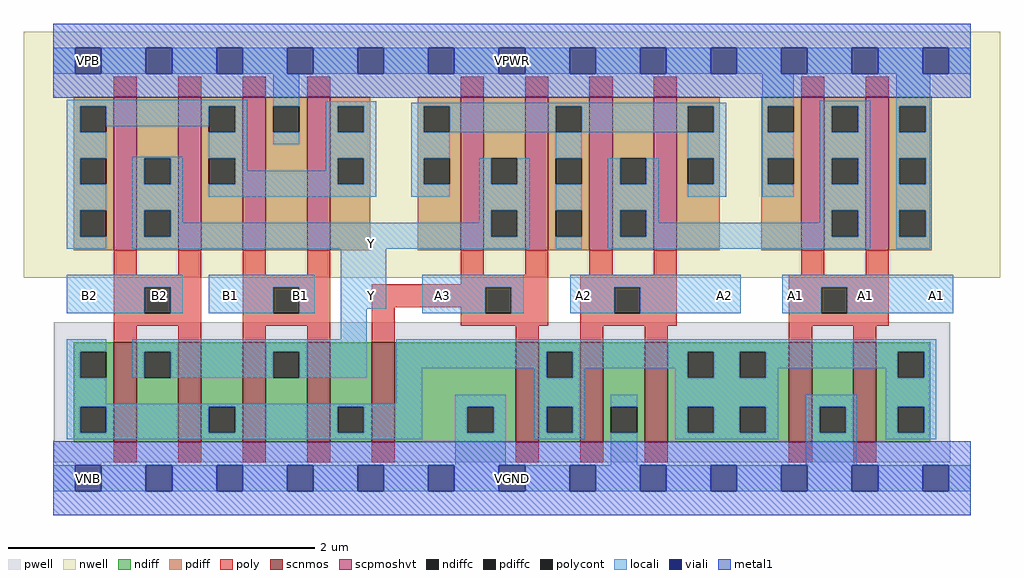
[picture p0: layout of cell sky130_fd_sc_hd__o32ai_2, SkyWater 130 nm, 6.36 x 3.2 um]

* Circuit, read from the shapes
.subckt sky130_fd_sc_hd__o32ai_2 A1 A2 A3 B1 B2 VGND VNB VPB VPWR Y
XM1 Y B2 n1 VNB sky130_fd_pr__nfet_01v8 w=0.65 l=0.15 m=2
XM2 Y B1 n1 VNB sky130_fd_pr__nfet_01v8 w=0.65 l=0.15 m=2
XM3 VGND A3 n1 VNB sky130_fd_pr__nfet_01v8 w=0.65 l=0.15 m=2
XM4 VGND A2 n1 VNB sky130_fd_pr__nfet_01v8 w=0.65 l=0.15 m=2
XM5 VGND A1 n1 VNB sky130_fd_pr__nfet_01v8 w=0.65 l=0.15 m=2
XM6 Y B2 n2 VPB sky130_fd_pr__pfet_01v8_hvt w=1 l=0.15 m=2
XM7 VPWR B1 n2 VPB sky130_fd_pr__pfet_01v8_hvt w=1 l=0.15 m=2
XM8 Y A3 n3 VPB sky130_fd_pr__pfet_01v8_hvt w=1 l=0.15 m=2
XM9 n4 A2 n3 VPB sky130_fd_pr__pfet_01v8_hvt w=1 l=0.15 m=2
XM10 n4 A1 VPWR VPB sky130_fd_pr__pfet_01v8_hvt w=1 l=0.15 m=2
.ends

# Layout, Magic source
magic
tech sky130B
magscale 1 2
<< nwell >>
rect -38 261 1234 582
<< pwell >>
rect 1 21 1169 203
rect 29 -17 63 21
<< scnmos >>
rect 79 47 109 177
rect 163 47 193 177
rect 247 47 277 177
rect 331 47 361 177
rect 415 47 445 177
rect 603 47 633 177
rect 687 47 717 177
rect 771 47 801 177
rect 959 47 989 177
rect 1043 47 1073 177
<< scpmoshvt >>
rect 79 297 109 497
rect 163 297 193 497
rect 247 297 277 497
rect 331 297 361 497
rect 531 297 561 497
rect 615 297 645 497
rect 699 297 729 497
rect 783 297 813 497
rect 975 297 1005 497
rect 1059 297 1089 497
<< ndiff >>
rect 27 165 79 177
rect 27 131 35 165
rect 69 131 79 165
rect 27 93 79 131
rect 27 59 35 93
rect 69 59 79 93
rect 27 47 79 59
rect 109 165 163 177
rect 109 131 119 165
rect 153 131 163 165
rect 109 47 163 131
rect 193 93 247 177
rect 193 59 203 93
rect 237 59 247 93
rect 193 47 247 59
rect 277 165 331 177
rect 277 131 287 165
rect 321 131 331 165
rect 277 47 331 131
rect 361 93 415 177
rect 361 59 371 93
rect 405 59 415 93
rect 361 47 415 59
rect 445 93 603 177
rect 445 59 540 93
rect 574 59 603 93
rect 445 47 603 59
rect 633 165 687 177
rect 633 131 643 165
rect 677 131 687 165
rect 633 93 687 131
rect 633 59 643 93
rect 677 59 687 93
rect 633 47 687 59
rect 717 93 771 177
rect 717 59 727 93
rect 761 59 771 93
rect 717 47 771 59
rect 801 165 959 177
rect 801 131 827 165
rect 861 131 895 165
rect 929 131 959 165
rect 801 93 959 131
rect 801 59 827 93
rect 861 59 895 93
rect 929 59 959 93
rect 801 47 959 59
rect 989 93 1043 177
rect 989 59 999 93
rect 1033 59 1043 93
rect 989 47 1043 59
rect 1073 165 1143 177
rect 1073 131 1101 165
rect 1135 131 1143 165
rect 1073 93 1143 131
rect 1073 59 1101 93
rect 1135 59 1143 93
rect 1073 47 1143 59
<< pdiff >>
rect 27 485 79 497
rect 27 451 35 485
rect 69 451 79 485
rect 27 417 79 451
rect 27 383 35 417
rect 69 383 79 417
rect 27 349 79 383
rect 27 315 35 349
rect 69 315 79 349
rect 27 297 79 315
rect 109 417 163 497
rect 109 383 119 417
rect 153 383 163 417
rect 109 349 163 383
rect 109 315 119 349
rect 153 315 163 349
rect 109 297 163 315
rect 193 485 247 497
rect 193 451 203 485
rect 237 451 247 485
rect 193 417 247 451
rect 193 383 203 417
rect 237 383 247 417
rect 193 297 247 383
rect 277 485 331 497
rect 277 451 287 485
rect 321 451 331 485
rect 277 297 331 451
rect 361 485 413 497
rect 361 451 371 485
rect 405 451 413 485
rect 361 417 413 451
rect 361 383 371 417
rect 405 383 413 417
rect 361 297 413 383
rect 475 485 531 497
rect 475 451 483 485
rect 517 451 531 485
rect 475 417 531 451
rect 475 383 483 417
rect 517 383 531 417
rect 475 297 531 383
rect 561 417 615 497
rect 561 383 571 417
rect 605 383 615 417
rect 561 349 615 383
rect 561 315 571 349
rect 605 315 615 349
rect 561 297 615 315
rect 645 485 699 497
rect 645 451 655 485
rect 689 451 699 485
rect 645 417 699 451
rect 645 383 655 417
rect 689 383 699 417
rect 645 349 699 383
rect 645 315 655 349
rect 689 315 699 349
rect 645 297 699 315
rect 729 417 783 497
rect 729 383 739 417
rect 773 383 783 417
rect 729 349 783 383
rect 729 315 739 349
rect 773 315 783 349
rect 729 297 783 315
rect 813 485 869 497
rect 813 451 827 485
rect 861 451 869 485
rect 813 417 869 451
rect 813 383 827 417
rect 861 383 869 417
rect 813 297 869 383
rect 923 485 975 497
rect 923 451 931 485
rect 965 451 975 485
rect 923 417 975 451
rect 923 383 931 417
rect 965 383 975 417
rect 923 297 975 383
rect 1005 485 1059 497
rect 1005 451 1015 485
rect 1049 451 1059 485
rect 1005 417 1059 451
rect 1005 383 1015 417
rect 1049 383 1059 417
rect 1005 349 1059 383
rect 1005 315 1015 349
rect 1049 315 1059 349
rect 1005 297 1059 315
rect 1089 485 1145 497
rect 1089 451 1103 485
rect 1137 451 1145 485
rect 1089 417 1145 451
rect 1089 383 1103 417
rect 1137 383 1145 417
rect 1089 349 1145 383
rect 1089 315 1103 349
rect 1137 315 1145 349
rect 1089 297 1145 315
<< ndiffc >>
rect 35 131 69 165
rect 35 59 69 93
rect 119 131 153 165
rect 203 59 237 93
rect 287 131 321 165
rect 371 59 405 93
rect 540 59 574 93
rect 643 131 677 165
rect 643 59 677 93
rect 727 59 761 93
rect 827 131 861 165
rect 895 131 929 165
rect 827 59 861 93
rect 895 59 929 93
rect 999 59 1033 93
rect 1101 131 1135 165
rect 1101 59 1135 93
<< pdiffc >>
rect 35 451 69 485
rect 35 383 69 417
rect 35 315 69 349
rect 119 383 153 417
rect 119 315 153 349
rect 203 451 237 485
rect 203 383 237 417
rect 287 451 321 485
rect 371 451 405 485
rect 371 383 405 417
rect 483 451 517 485
rect 483 383 517 417
rect 571 383 605 417
rect 571 315 605 349
rect 655 451 689 485
rect 655 383 689 417
rect 655 315 689 349
rect 739 383 773 417
rect 739 315 773 349
rect 827 451 861 485
rect 827 383 861 417
rect 931 451 965 485
rect 931 383 965 417
rect 1015 451 1049 485
rect 1015 383 1049 417
rect 1015 315 1049 349
rect 1103 451 1137 485
rect 1103 383 1137 417
rect 1103 315 1137 349
<< poly >>
rect 79 497 109 523
rect 163 497 193 523
rect 247 497 277 523
rect 331 497 361 523
rect 531 497 561 523
rect 615 497 645 523
rect 699 497 729 523
rect 783 497 813 523
rect 975 497 1005 523
rect 1059 497 1089 523
rect 79 265 109 297
rect 163 265 193 297
rect 79 249 193 265
rect 79 215 119 249
rect 153 215 193 249
rect 79 199 193 215
rect 79 177 109 199
rect 163 177 193 199
rect 247 265 277 297
rect 331 265 361 297
rect 247 249 361 265
rect 531 265 561 297
rect 615 265 645 297
rect 699 265 729 297
rect 783 265 813 297
rect 975 265 1005 297
rect 1059 265 1089 297
rect 531 253 645 265
rect 247 215 287 249
rect 321 215 361 249
rect 247 199 361 215
rect 247 177 277 199
rect 331 177 361 199
rect 415 249 645 253
rect 415 223 563 249
rect 415 177 445 223
rect 531 215 563 223
rect 597 215 645 249
rect 531 199 645 215
rect 687 249 813 265
rect 687 215 731 249
rect 765 215 813 249
rect 687 199 813 215
rect 959 249 1089 265
rect 959 215 1001 249
rect 1035 215 1089 249
rect 959 199 1089 215
rect 603 177 633 199
rect 687 177 717 199
rect 771 177 801 199
rect 959 177 989 199
rect 1043 177 1073 199
rect 79 21 109 47
rect 163 21 193 47
rect 247 21 277 47
rect 331 21 361 47
rect 415 21 445 47
rect 603 21 633 47
rect 687 21 717 47
rect 771 21 801 47
rect 959 21 989 47
rect 1043 21 1073 47
<< polycont >>
rect 119 215 153 249
rect 287 215 321 249
rect 563 215 597 249
rect 731 215 765 249
rect 1001 215 1035 249
<< locali >>
rect 0 527 29 561
rect 63 527 121 561
rect 155 527 213 561
rect 247 527 305 561
rect 339 527 397 561
rect 431 527 489 561
rect 523 527 581 561
rect 615 527 673 561
rect 707 527 765 561
rect 799 527 857 561
rect 891 527 949 561
rect 983 527 1041 561
rect 1075 527 1133 561
rect 1167 527 1196 561
rect 18 485 253 493
rect 18 451 35 485
rect 69 459 203 485
rect 18 417 69 451
rect 237 451 253 485
rect 18 383 35 417
rect 18 349 69 383
rect 18 315 35 349
rect 18 299 69 315
rect 103 417 169 419
rect 103 383 119 417
rect 153 383 169 417
rect 103 349 169 383
rect 203 417 253 451
rect 287 485 321 527
rect 287 435 321 451
rect 355 485 421 491
rect 355 451 371 485
rect 405 451 421 485
rect 237 401 253 417
rect 355 417 421 451
rect 355 401 371 417
rect 237 383 371 401
rect 405 383 421 417
rect 203 367 421 383
rect 467 485 877 489
rect 467 451 483 485
rect 517 451 655 485
rect 689 451 827 485
rect 861 451 877 485
rect 467 417 517 451
rect 655 417 689 451
rect 827 417 877 451
rect 467 383 483 417
rect 467 367 517 383
rect 555 383 571 417
rect 605 383 621 417
rect 103 315 119 349
rect 153 333 169 349
rect 555 349 621 383
rect 555 333 571 349
rect 153 315 571 333
rect 605 315 621 349
rect 103 299 621 315
rect 655 349 689 383
rect 655 299 689 315
rect 723 383 739 417
rect 773 383 789 417
rect 723 349 789 383
rect 861 383 877 417
rect 827 367 877 383
rect 924 485 965 527
rect 924 451 931 485
rect 924 417 965 451
rect 924 383 931 417
rect 924 367 965 383
rect 999 485 1065 492
rect 999 451 1015 485
rect 1049 451 1065 485
rect 999 417 1065 451
rect 999 383 1015 417
rect 1049 383 1065 417
rect 723 315 739 349
rect 773 333 789 349
rect 999 349 1065 383
rect 999 333 1015 349
rect 773 315 1015 333
rect 1049 315 1065 349
rect 723 299 1065 315
rect 1099 485 1143 527
rect 1099 451 1103 485
rect 1137 451 1143 485
rect 1099 417 1143 451
rect 1099 383 1103 417
rect 1137 383 1143 417
rect 1099 349 1143 383
rect 1099 315 1103 349
rect 1137 315 1143 349
rect 1099 299 1143 315
rect 18 249 169 265
rect 18 215 119 249
rect 153 215 169 249
rect 203 249 341 265
rect 203 215 287 249
rect 321 215 341 249
rect 375 221 434 299
rect 481 249 613 265
rect 375 181 409 221
rect 481 215 563 249
rect 597 215 613 249
rect 674 249 896 265
rect 674 215 731 249
rect 765 215 896 249
rect 950 249 1173 265
rect 950 215 1001 249
rect 1035 215 1173 249
rect 18 165 69 181
rect 18 131 35 165
rect 103 165 409 181
rect 103 131 119 165
rect 153 131 287 165
rect 321 131 409 165
rect 447 165 1151 181
rect 447 143 643 165
rect 18 97 69 131
rect 447 97 481 143
rect 627 131 643 143
rect 677 143 827 165
rect 677 131 693 143
rect 18 93 481 97
rect 18 59 35 93
rect 69 59 203 93
rect 237 59 371 93
rect 405 59 481 93
rect 18 51 481 59
rect 524 93 590 109
rect 524 59 540 93
rect 574 59 590 93
rect 524 17 590 59
rect 627 93 693 131
rect 811 131 827 143
rect 861 131 895 165
rect 929 143 1101 165
rect 929 131 945 143
rect 627 59 643 93
rect 677 59 693 93
rect 627 51 693 59
rect 727 93 761 109
rect 727 17 761 59
rect 811 93 945 131
rect 1085 131 1101 143
rect 1135 131 1151 165
rect 811 59 827 93
rect 861 59 895 93
rect 929 59 945 93
rect 811 51 945 59
rect 981 93 1047 109
rect 981 59 999 93
rect 1033 59 1047 93
rect 981 17 1047 59
rect 1085 93 1151 131
rect 1085 59 1101 93
rect 1135 59 1151 93
rect 1085 51 1151 59
rect 0 -17 29 17
rect 63 -17 121 17
rect 155 -17 213 17
rect 247 -17 305 17
rect 339 -17 397 17
rect 431 -17 489 17
rect 523 -17 581 17
rect 615 -17 673 17
rect 707 -17 765 17
rect 799 -17 857 17
rect 891 -17 949 17
rect 983 -17 1041 17
rect 1075 -17 1133 17
rect 1167 -17 1196 17
<< viali >>
rect 29 527 63 561
rect 121 527 155 561
rect 213 527 247 561
rect 305 527 339 561
rect 397 527 431 561
rect 489 527 523 561
rect 581 527 615 561
rect 673 527 707 561
rect 765 527 799 561
rect 857 527 891 561
rect 949 527 983 561
rect 1041 527 1075 561
rect 1133 527 1167 561
rect 29 -17 63 17
rect 121 -17 155 17
rect 213 -17 247 17
rect 305 -17 339 17
rect 397 -17 431 17
rect 489 -17 523 17
rect 581 -17 615 17
rect 673 -17 707 17
rect 765 -17 799 17
rect 857 -17 891 17
rect 949 -17 983 17
rect 1041 -17 1075 17
rect 1133 -17 1167 17
<< metal1 >>
rect 0 561 1196 592
rect 0 527 29 561
rect 63 527 121 561
rect 155 527 213 561
rect 247 527 305 561
rect 339 527 397 561
rect 431 527 489 561
rect 523 527 581 561
rect 615 527 673 561
rect 707 527 765 561
rect 799 527 857 561
rect 891 527 949 561
rect 983 527 1041 561
rect 1075 527 1133 561
rect 1167 527 1196 561
rect 0 496 1196 527
rect 0 17 1196 48
rect 0 -17 29 17
rect 63 -17 121 17
rect 155 -17 213 17
rect 247 -17 305 17
rect 339 -17 397 17
rect 431 -17 489 17
rect 523 -17 581 17
rect 615 -17 673 17
rect 707 -17 765 17
rect 799 -17 857 17
rect 891 -17 949 17
rect 983 -17 1041 17
rect 1075 -17 1133 17
rect 1167 -17 1196 17
rect 0 -48 1196 -17
<< labels >>
flabel locali s 1134 221 1168 255 0 FreeSans 250 0 0 0 A1
port 1 nsew signal input
flabel locali s 214 221 248 255 0 FreeSans 250 0 0 0 B1
port 4 nsew signal input
flabel locali s 858 221 892 255 0 FreeSans 250 0 0 0 A2
port 2 nsew signal input
flabel locali s 1042 221 1076 255 0 FreeSans 250 0 0 0 A1
port 1 nsew signal input
flabel locali s 950 221 984 255 0 FreeSans 250 0 0 0 A1
port 1 nsew signal input
flabel locali s 674 221 708 255 0 FreeSans 250 0 0 0 A2
port 2 nsew signal input
flabel locali s 490 221 524 255 0 FreeSans 250 0 0 0 A3
port 3 nsew signal input
flabel locali s 398 221 432 255 0 FreeSans 250 0 0 0 Y
port 10 nsew signal output
flabel locali s 398 289 432 323 0 FreeSans 250 0 0 0 Y
port 10 nsew signal output
flabel locali s 306 221 340 255 0 FreeSans 250 0 0 0 B1
port 4 nsew signal input
flabel locali s 122 221 156 255 0 FreeSans 250 0 0 0 B2
port 5 nsew signal input
flabel locali s 30 221 64 255 0 FreeSans 250 0 0 0 B2
port 5 nsew signal input
flabel nwell s 29 527 63 561 0 FreeSans 200 0 0 0 VPB
port 8 nsew power bidirectional
flabel pwell s 29 -17 63 17 0 FreeSans 200 0 0 0 VNB
port 7 nsew ground bidirectional
flabel metal1 s 29 -17 63 17 0 FreeSans 200 0 0 0 VGND
port 6 nsew ground bidirectional abutment
flabel metal1 s 29 527 63 561 0 FreeSans 200 0 0 0 VPWR
port 9 nsew power bidirectional abutment
rlabel comment s 0 0 0 0 4 o32ai_2
rlabel metal1 s 0 -48 1196 48 1 VGND
port 6 nsew ground bidirectional abutment
rlabel metal1 s 0 496 1196 592 1 VPWR
port 9 nsew power bidirectional abutment
<< properties >>
string FIXED_BBOX 0 0 1196 544
string GDS_END 1492788
string GDS_FILE $PDKPATH/libs.ref/sky130_fd_sc_hd/gds/sky130_fd_sc_hd.gds
string GDS_START 1482862
string LEFclass CORE
string LEFsite unithd
string LEFsymmetry X Y R90
string path 0.000 0.000 5.980 0.000 
<< end >>
